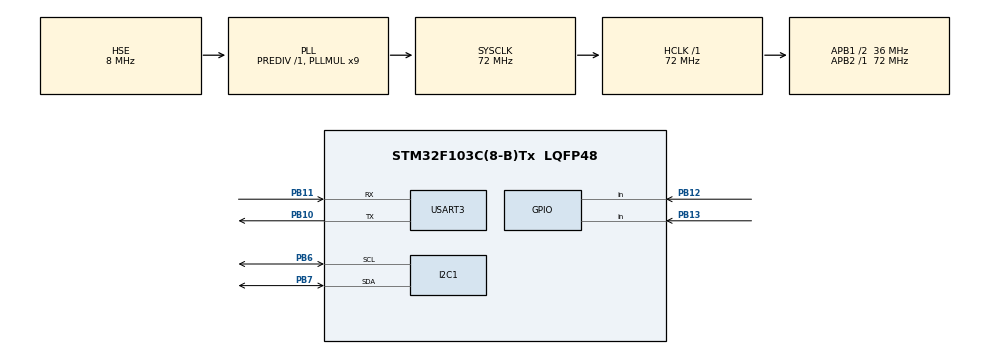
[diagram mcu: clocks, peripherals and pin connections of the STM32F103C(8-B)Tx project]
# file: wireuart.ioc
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Dma.Request0=USART3_TX
Dma.Request1=USART3_RX
Dma.USART3_RX.1.Direction=DMA_PERIPH_TO_MEMORY
Dma.USART3_RX.1.Instance=DMA1_Channel3
Dma.USART3_RX.1.MemDataAlignment=DMA_MDATAALIGN_BYTE
Dma.USART3_RX.1.MemInc=DMA_MINC_ENABLE
Dma.USART3_RX.1.Mode=DMA_NORMAL
Dma.USART3_RX.1.PeriphDataAlignment=DMA_PDATAALIGN_BYTE
Dma.USART3_RX.1.PeriphInc=DMA_PINC_DISABLE
Dma.USART3_RX.1.Priority=DMA_PRIORITY_LOW
Dma.USART3_TX.0.Direction=DMA_MEMORY_TO_PERIPH
Dma.USART3_TX.0.Instance=DMA1_Channel2
Dma.USART3_TX.0.MemDataAlignment=DMA_MDATAALIGN_BYTE
Dma.USART3_TX.0.MemInc=DMA_MINC_ENABLE
Dma.USART3_TX.0.Mode=DMA_NORMAL
Dma.USART3_TX.0.PeriphDataAlignment=DMA_PDATAALIGN_BYTE
Dma.USART3_TX.0.PeriphInc=DMA_PINC_DISABLE
Dma.USART3_TX.0.Priority=DMA_PRIORITY_LOW
I2C1.I2C_Mode=I2C_Fast
Mcu.Family=STM32F1
Mcu.Name=STM32F103C(8-B)Tx
Mcu.Package=LQFP48
NVIC.DMA1_Channel2_IRQn=true\:0\:0\:false\:false\:true\:false\:true\:true
NVIC.DMA1_Channel3_IRQn=true\:0\:0\:false\:false\:true\:false\:true\:true
NVIC.PriorityGroup=NVIC_PRIORITYGROUP_4
NVIC.USART3_IRQn=true\:0\:0\:false\:false\:true\:true\:true\:true
PA13.Mode=Serial_Wire
PA13.Signal=SYS_JTMS-SWDIO
PA14.Mode=Serial_Wire
PA14.Signal=SYS_JTCK-SWCLK
PB10.Mode=Asynchronous
PB10.Signal=USART3_TX
PB11.Mode=Asynchronous
PB11.Signal=USART3_RX
PB12.Signal=GPIO_Input
PB13.GPIO_PuPd=GPIO_PULLUP
PB13.Signal=GPIO_Input
PB6.Mode=I2C
PB6.Signal=I2C1_SCL
PB7.Mode=I2C
PB7.Signal=I2C1_SDA
PD0-OSC_IN.Mode=HSE-External-Oscillator
PD0-OSC_IN.Signal=RCC_OSC_IN
PD1-OSC_OUT.Mode=HSE-External-Oscillator
PD1-OSC_OUT.Signal=RCC_OSC_OUT
ProjectManager.HeapSize=0x200
ProjectManager.StackSize=0x400
ProjectManager.TargetToolchain=MDK-ARM V5.32
RCC.AHBFreq_Value=72000000
RCC.APB1CLKDivider=RCC_HCLK_DIV2
RCC.APB1Freq_Value=36000000
RCC.APB1TimFreq_Value=72000000
RCC.APB2Freq_Value=72000000
RCC.APB2TimFreq_Value=72000000
RCC.HCLKFreq_Value=72000000
RCC.PLLMUL=RCC_PLL_MUL9
RCC.PLLSourceVirtual=RCC_PLLSOURCE_HSE
RCC.SYSCLKFreq_VALUE=72000000
RCC.SYSCLKSource=RCC_SYSCLKSOURCE_PLLCLK
RCC.USBFreq_Value=72000000
USART3.VirtualMode=VM_ASYNC
board=custom

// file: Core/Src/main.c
/* USER CODE BEGIN Header */
/**
  ******************************************************************************
  * @file           : main.c
  * @brief          : Main program body
  ******************************************************************************
  * @attention
  *
  * Copyright (c) 2026 STMicroelectronics.
  * All rights reserved.
  *
  * This software is licensed under terms that can be found in the LICENSE file
  * in the root directory of this software component.
  * If no LICENSE file comes with this software, it is provided AS-IS.
  *
  ******************************************************************************
  */
/* USER CODE END Header */
#include "main.h"
#include "dma.h"
#include "i2c.h"
#include "usart.h"
#include "gpio.h"

/* USER CODE BEGIN Includes */
#include "oled.h"
#include "stdio.h"
#include "string.h"
/* USER CODE END Includes */

/* USER CODE BEGIN PV */

uint8_t frame[106]={0xAA,0x00,0x00,0x64};
volatile uint8_t tx_busy = 0;
uint8_t rx_buf[7];
volatile uint16_t rx_len = 0;
volatile uint8_t rx_flag = 0;

/* USER CODE END PV */

void SystemClock_Config(void);

/* USER CODE BEGIN 0 */
void HAL_UART_RxCpltCallback(UART_HandleTypeDef *huart)
{
	if(huart==&huart3)
	{
		//HAL_UART_Transmit_IT(&huart3,rx_buf,7);
		HAL_UART_Receive_IT(&huart3,rx_buf,7);
		rx_flag = 1;
	}
}
void HAL_UART_TxCpltCallback(UART_HandleTypeDef *huart)
{
    if (huart == &huart3)
    {
        tx_busy = 0;

    }
}

/**void HAL_UARTEx_RxEventCallback(UART_HandleTypeDef *huart, uint16_t Size)
{
    if (huart == &huart3)
    {
        rx_len = Size;
        rx_flag = 1;

        // ���¿��� DMA ���գ��ǳ���Ҫ��
        HAL_UART_Receive_DMA(&huart3, rx_buf, sizeof(rx_buf));
        __HAL_DMA_DISABLE_IT(&hdma_usart3_rx, DMA_IT_HT);
    }
}**/
/* USER CODE END 0 */

int main(void)
{

  /* MCU Configuration--------------------------------------------------------*/

  /* Reset of all peripherals, Initializes the Flash interface and the Systick. */
  HAL_Init();

  /* Configure the system clock */
  SystemClock_Config();

  /* Initialize all configured peripherals */
  MX_GPIO_Init();
  MX_DMA_Init();
  MX_USART3_UART_Init();
  MX_I2C1_Init();
  /* USER CODE BEGIN 2 */
  HAL_Delay(20);
  OLED_Init();

  __HAL_DMA_DISABLE_IT(&hdma_usart3_rx,DMA_IT_HT);

  uint8_t sendData[100]={0x8F,0x14,0xE3,0x5D,0xBB,0x9A,0x2C,0x71,0xD9,0x06,
						 0xA7,0x3E,0x82,0x4B,0xF0,0xC5,0x39,0x6E,0x53,0x1D,
						 0xFC,0x28,0x97,0x63,0xAD,0x40,0x7B,0xE8,0x15,0xCE,
						 0x22,0x89,0x56,0xB4,0x0F,0x3A,0xD7,0x60,0x9C,0x77,
						 0x4D,0xEA,0x31,0x8B,0x12,0xF9,0x64,0xA3,0x0C,0x5F,
						 0x91,0x7E,0xC2,0x29,0x54,0xBF,0x18,0xE6,0x43,0xAA,
						 0x35,0x80,0xFD,0x1A,0x67,0xBE,0x09,0xD2,0x4E,0x95,
						 0x78,0x26,0xB3,0x0A,0xE1,0x5C,0x87,0x3B,0x44,0xAF,
						 0x10,0xDB,0x75,0x8E,0x21,0xFA,0x6D,0x34,0x99,0xC6,
						 0x2B,0x50,0xED,0x86,0x1F,0x72,0xBC,0x07,0x48,0xF3};

    uint8_t senderrorData[106]={0xAA,0x00,0x00,0x64,
		                 0x7F,0x14,0xE3,0x5D,0xBB,0x9A,0x2C,0x71,0xD9,0x06,
						 0xA7,0x3E,0x82,0x4B,0xF0,0xC5,0x39,0x6E,0x53,0x1D,
						 0xFC,0x28,0x97,0x63,0xAD,0x40,0x7B,0xE8,0x15,0xCE,
						 0x22,0x89,0x56,0xB4,0x0F,0x3A,0xD7,0x60,0x9C,0x77,
						 0x4D,0xEA,0x31,0x8B,0x12,0xF9,0x64,0xA3,0x0C,0x5F,
						 0x91,0x7E,0xC2,0x29,0x54,0xBF,0x18,0xE6,0x43,0xAA,
						 0x35,0x80,0xFD,0x1A,0x67,0xBE,0x09,0xD2,0x4E,0x95,
						 0x78,0x26,0xB3,0x0A,0xE1,0x5C,0x87,0x3B,0x44,0xAF,
						 0x10,0xDB,0x75,0x8E,0x21,0xFA,0x6D,0x34,0x99,0xC6,
						 0x2B,0x50,0xED,0x86,0x1F,0x72,0xBC,0x07,0x48,0xF3,
						 0xA3,0xEC};
  uint8_t sumcheck=0;
  uint8_t addcheck=0;

  char head[4]="";
  char data[1]="";
  char checkout[2]="";
  for(int i=0;i<100;i++)
{
	frame[4+i]=sendData[i];
}
  for(int i=0;i<104;i++)
{
	sumcheck+=frame[i];
	addcheck+=sumcheck;
}
	frame[104]=sumcheck;
	frame[105]=addcheck;

	tx_busy = 1;
	HAL_UART_Receive_IT(&huart3,rx_buf,7);
    OLED_NewFrame();
	OLED_PrintString(0,0,"ready",&font16x16,OLED_COLOR_NORMAL);
    OLED_ShowFrame();
	//HAL_UART_Receive_DMA(&huart3, rx_buf, sizeof(rx_buf));
	//__HAL_DMA_DISABLE_IT(&hdma_usart3_rx, DMA_IT_HT); // �رհ봫�ж�
	//HAL_UART_Transmit_DMA(&huart3, frame, 106);
	//HAL_UART_Receive_DMA(&huart3,frame,sizeof(frame));
  /* USER CODE END 2 */

  /* Infinite loop */
  /* USER CODE BEGIN WHILE */
  while (1)
  {
	  if(HAL_GPIO_ReadPin(GPIOB,GPIO_PIN_12)==GPIO_PIN_RESET)
	  {
		  if(HAL_GPIO_ReadPin(GPIOB,GPIO_PIN_12)==GPIO_PIN_RESET)
		  {
			 HAL_UART_Transmit_DMA(&huart3, frame, 106);
		     OLED_NewFrame();
			 OLED_PrintString(0,0,"senddata",&font16x16,OLED_COLOR_NORMAL);
			 OLED_ShowFrame();
		  }
		  while(HAL_GPIO_ReadPin(GPIOB,GPIO_PIN_12)==GPIO_PIN_RESET)
		  {
			  HAL_Delay(10);
		  }

	  }
	  if(HAL_GPIO_ReadPin(GPIOB,GPIO_PIN_13)==GPIO_PIN_RESET)
	  {
		  if(HAL_GPIO_ReadPin(GPIOB,GPIO_PIN_13)==GPIO_PIN_RESET)
		  {
			 HAL_UART_Transmit_DMA(&huart3, senderrorData, 106);
		     OLED_NewFrame();
			 OLED_PrintString(0,0,"senddata",&font16x16,OLED_COLOR_NORMAL);
			 OLED_ShowFrame();
		  }
		  while(HAL_GPIO_ReadPin(GPIOB,GPIO_PIN_13)==GPIO_PIN_RESET)
		  {
			  HAL_Delay(10);
		  }

	  }
	 if (rx_flag)
    {
        rx_flag = 0;
		uint8_t rx_sumcheck=0;
        uint8_t rx_addcheck=0;
		for(int i=0;i<5;i++)
		{
			rx_sumcheck+=rx_buf[i];
	        rx_addcheck+=rx_sumcheck;
		}
		if(rx_sumcheck==rx_buf[5]&&rx_addcheck==rx_buf[6])
		{
		OLED_NewFrame();
		sprintf(head, " %02X%02X%02X%02X", rx_buf[0],rx_buf[1],rx_buf[2],rx_buf[3]);
	    OLED_PrintString(0,0,"head",&font16x16,OLED_COLOR_NORMAL);
		OLED_PrintString(32,0,head,&font16x16,OLED_COLOR_NORMAL);
		sprintf(data, " %d", rx_buf[4]);
		OLED_PrintString(0,16,"error",&font16x16,OLED_COLOR_NORMAL);
		OLED_PrintString(48,16,data,&font16x16,OLED_COLOR_NORMAL);
		sprintf(checkout, " %02X%02X", rx_buf[5],rx_buf[6]);
		OLED_PrintString(0,32,"checkout",&font16x16,OLED_COLOR_NORMAL);
		OLED_PrintString(64,32,checkout,&font16x16,OLED_COLOR_NORMAL);
		OLED_ShowFrame();
		}
		else
		{
		OLED_NewFrame();
		sprintf(checkout, " %02X%02X", rx_sumcheck,rx_addcheck);
		OLED_PrintString(0,32,"checkout",&font16x16,OLED_COLOR_NORMAL);
		OLED_PrintString(48,32,checkout,&font16x16,OLED_COLOR_NORMAL);
		OLED_ShowFrame();
		}

    }

    /* USER CODE END WHILE */

  }
}

void SystemClock_Config(void)
{
  RCC_OscInitTypeDef RCC_OscInitStruct = {0};
  RCC_ClkInitTypeDef RCC_ClkInitStruct = {0};

  /** Initializes the RCC Oscillators according to the specified parameters
  * in the RCC_OscInitTypeDef structure.
  */
  RCC_OscInitStruct.OscillatorType = RCC_OSCILLATORTYPE_HSE;
  RCC_OscInitStruct.HSEState = RCC_HSE_ON;
  RCC_OscInitStruct.HSEPredivValue = RCC_HSE_PREDIV_DIV1;
  RCC_OscInitStruct.HSIState = RCC_HSI_ON;
  RCC_OscInitStruct.PLL.PLLState = RCC_PLL_ON;
  RCC_OscInitStruct.PLL.PLLSource = RCC_PLLSOURCE_HSE;
  RCC_OscInitStruct.PLL.PLLMUL = RCC_PLL_MUL9;
  if (HAL_RCC_OscConfig(&RCC_OscInitStruct) != HAL_OK)
  {
    Error_Handler();
  }

  /** Initializes the CPU, AHB and APB buses clocks
  */
  RCC_ClkInitStruct.ClockType = RCC_CLOCKTYPE_HCLK|RCC_CLOCKTYPE_SYSCLK
                              |RCC_CLOCKTYPE_PCLK1|RCC_CLOCKTYPE_PCLK2;
  RCC_ClkInitStruct.SYSCLKSource = RCC_SYSCLKSOURCE_PLLCLK;
  RCC_ClkInitStruct.AHBCLKDivider = RCC_SYSCLK_DIV1;
  RCC_ClkInitStruct.APB1CLKDivider = RCC_HCLK_DIV2;
  RCC_ClkInitStruct.APB2CLKDivider = RCC_HCLK_DIV1;

  if (HAL_RCC_ClockConfig(&RCC_ClkInitStruct, FLASH_LATENCY_2) != HAL_OK)
  {
    Error_Handler();
  }
}

void Error_Handler(void)
{
  __disable_irq();
  while (1)
  {
  }
}
